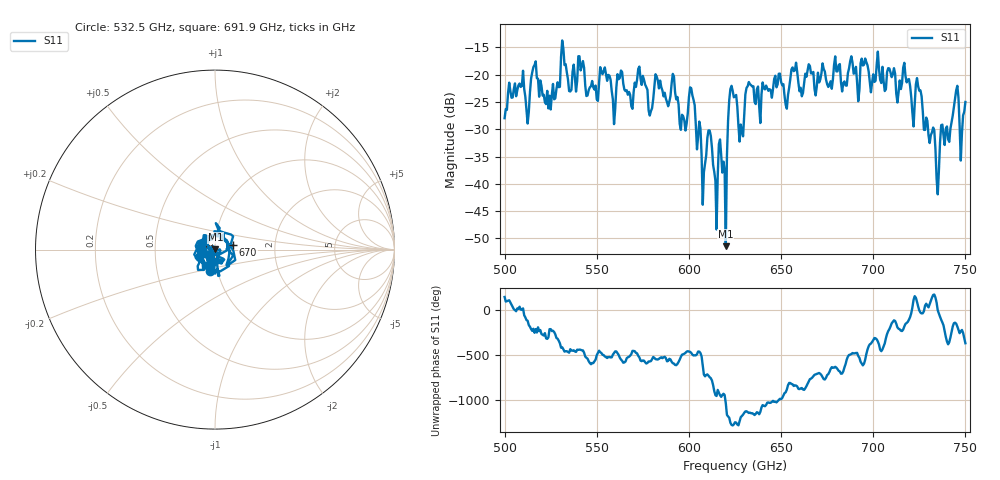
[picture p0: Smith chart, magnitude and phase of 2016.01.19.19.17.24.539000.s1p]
!Created with skrf (http://scikit-rf.org).
# GHz S RI R 50.0
!freq ReS11 ImS11
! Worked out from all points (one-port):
!   401 points, 500 GHz to 750 GHz, reference 50 ohm
!   lowest |S11| = -51.4 dB at 620 GHz (marker M1), VSWR 1.01, Z = 50.2 + j0.184 ohm
!   |S11| at or under -10 dB: start of sweep to end of sweep
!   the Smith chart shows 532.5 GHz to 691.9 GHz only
!   S11 on the Smith chart (normalised r, x): 532.5 GHz: 0.92, -0.22; 670 GHz: 1.22, +0.06; 691.9 GHz: 0.90, -0.05
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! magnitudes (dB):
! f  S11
! 500 GHz  -28.0
! 508.8 GHz  -22.2
! 512.5 GHz  -29.0
! 515.6 GHz  -18.6
! 523.8 GHz  -26.2
! 531.2 GHz  -13.7
! 532.5 GHz  -18.2
! 559.4 GHz  -29.1
! 562.5 GHz  -20.6
! 593.8 GHz  -24.1
! 601.9 GHz  -23.8
! 608.1 GHz  -37.8
! 611.2 GHz  -30.2
! 614.4 GHz  -39.4
! 620 GHz  -51.4
! 622.5 GHz  -22.6
! 625 GHz  -24.0
! 628.1 GHz  -29.1
! 632.5 GHz  -21.3
! 656.2 GHz  -18.7
! 670 GHz  -19.6
! 687.5 GHz  -17.5
! 691.9 GHz  -24.9
! 718.8 GHz  -20.9
! 735 GHz  -41.9
! 745 GHz  -22.9
! 748.1 GHz  -30.7
! 750 GHz  -25.0
